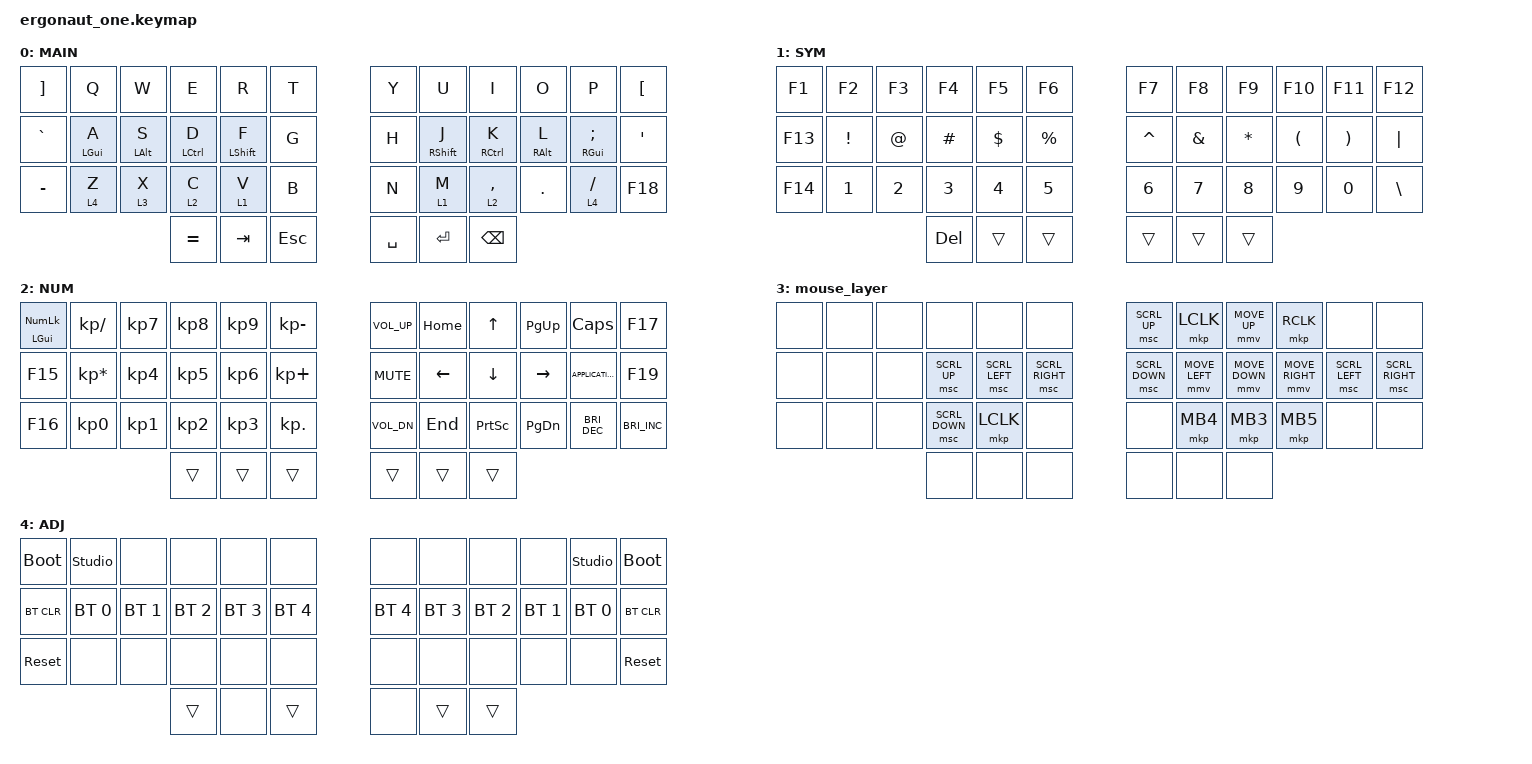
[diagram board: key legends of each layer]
#include <behaviors.dtsi>
#include <dt-bindings/zmk/bt.h>
#include <dt-bindings/zmk/keys.h>
#include <dt-bindings/zmk/pointing.h>

#define DEF 0
#define LWR 1
#define RSE 2
#define ADJ 3

&lt { quick-tap-ms = <200>; };

&mt { quick-tap-ms = <200>; };

/ {
    conditional_layers { compatible = "zmk,conditional-layers"; };

    behaviors {
        hrml: hrml {
            compatible = "zmk,behavior-hold-tap";
            label = "HOME_ROW_MOD_LEFT";
            bindings = <&kp>, <&kp>;

            #binding-cells = <2>;
            tapping-term-ms = <260>;
            quick-tap-ms = <125>;
            flavor = "balanced";
            hold-trigger-on-release;
            hold-trigger-key-positions = <6 18 30 31 19 7 8 20 32 33 21 9 10 22 34 35 23 11 39 40 41>;
            require-prior-idle-ms = <110>;
        };

        hrmr: hrmr {
            compatible = "zmk,behavior-hold-tap";
            label = "HOME_ROW_MOD_RIGHT";
            bindings = <&kp>, <&kp>;

            #binding-cells = <2>;
            tapping-term-ms = <260>;
            quick-tap-ms = <125>;
            flavor = "balanced";
            hold-trigger-on-release;
            hold-trigger-key-positions = <0 1 2 3 4 5 12 13 14 15 16 17 24 25 26 27 28 29 36 37 38>;
            require-prior-idle-ms = <110>;
        };

        lml: lml {
            compatible = "zmk,behavior-hold-tap";
            label = "LAYER_MOD_LEFT";
            bindings = <&mo>, <&kp>;

            #binding-cells = <2>;
            tapping-term-ms = <260>;
            quick-tap-ms = <125>;
            flavor = "balanced";
            hold-trigger-on-release;
            hold-trigger-key-positions = <6 7 8 9 10 11 18 19 20 21 22 23 30 31 32 33 34 35 41 40 39>;
            require-prior-idle-ms = <110>;
        };

        lmr: lmr {
            compatible = "zmk,behavior-hold-tap";
            label = "LAYER_MOD_RIGHT";
            bindings = <&mo>, <&kp>;

            #binding-cells = <2>;
            tapping-term-ms = <260>;
            quick-tap-ms = <125>;
            flavor = "balanced";
            hold-trigger-on-release;
            hold-trigger-key-positions = <0 1 2 3 4 5 12 13 14 15 16 17 24 25 26 27 28 29 36 37 38>;
            require-prior-idle-ms = <110>;
        };
    };

    keymap {
        compatible = "zmk,keymap";

        default_layer {
            display-name = "MAIN";
            bindings = <
&kp RIGHT_BRACKET  &kp Q         &kp W         &kp E          &kp R           &kp T    &kp Y      &kp U           &kp I          &kp O         &kp P            &kp LBKT
&kp GRAVE          &hrml LGUI A  &hrml LALT S  &hrml LCTRL D  &hrml LSHIFT F  &kp G    &kp H      &hrmr RSHIFT J  &hrmr RCTRL K  &hrmr RALT L  &hrmr RGUI SEMI  &kp SQT
&kp MINUS          &lml 4 Z      &lml 3 X      &lml 2 C       &lml 1 V        &kp B    &kp N      &lmr 1 M        &lmr 2 COMMA   &kp DOT       &lmr 4 SLASH     &kp F18
                                               &kp EQUAL      &kp TAB         &kp ESC  &kp SPACE  &kp ENTER       &kp BACKSPACE
            >;
        };

        lower_layer {
            display-name = "SYM";
            bindings = <
&kp F1   &kp F2    &kp F3  &kp F4      &kp F5    &kp F6     &kp F7     &kp F8    &kp F9    &kp F10   &kp F11   &kp F12
&kp F13  &kp EXCL  &kp AT  &kp HASH    &kp DLLR  &kp PRCNT  &kp CARET  &kp AMPS  &kp STAR  &kp LPAR  &kp RPAR  &kp PIPE
&kp F14  &kp N1    &kp N2  &kp N3      &kp N4    &kp N5     &kp N6     &kp N7    &kp N8    &kp N9    &kp N0    &kp BACKSLASH
                           &kp DELETE  &trans    &trans     &trans     &trans    &trans
            >;
        };

        raise_layer {
            display-name = "NUM";
            bindings = <
&mt LGUI KP_NUM  &kp KP_SLASH     &kp KP_N7  &kp KP_N8  &kp KP_N9  &kp KP_MINUS  &kp C_VOL_UP  &kp HOME  &kp UP_ARROW  &kp PG_UP      &kp CAPS              &kp F17
&kp F15          &kp KP_MULTIPLY  &kp KP_N4  &kp KP_N5  &kp KP_N6  &kp KP_PLUS   &kp C_MUTE    &kp LEFT  &kp DOWN      &kp RIGHT      &kp K_APPLICATION     &kp F19
&kp F16          &kp KP_N0        &kp KP_N1  &kp KP_N2  &kp KP_N3  &kp KP_DOT    &kp C_VOL_DN  &kp END   &kp PSCRN     &kp PAGE_DOWN  &kp C_BRIGHTNESS_DEC  &kp C_BRIGHTNESS_INC
                                             &trans     &trans     &trans        &trans        &trans    &trans
            >;
        };

        mouse_layer {
            bindings = <
&none  &none  &none  &none           &none           &none            &msc SCRL_UP    &mkp LCLK       &mmv MOVE_UP    &mkp RCLK        &none           &none
&none  &none  &none  &msc SCRL_UP    &msc SCRL_LEFT  &msc SCRL_RIGHT  &msc SCRL_DOWN  &mmv MOVE_LEFT  &mmv MOVE_DOWN  &mmv MOVE_RIGHT  &msc SCRL_LEFT  &msc SCRL_RIGHT
&none  &none  &none  &msc SCRL_DOWN  &mkp LCLK       &none            &none           &mkp MB4        &mkp MB3        &mkp MB5         &none           &none
                     &none           &none           &none            &none           &none           &none
            >;
        };

        adjust_layer {
            display-name = "ADJ";
            bindings = <
&bootloader  &studio_unlock  &none         &none         &none         &none         &none         &none         &none         &none         &studio_unlock  &bootloader
&bt BT_CLR   &bt BT_SEL 0    &bt BT_SEL 1  &bt BT_SEL 2  &bt BT_SEL 3  &bt BT_SEL 4  &bt BT_SEL 4  &bt BT_SEL 3  &bt BT_SEL 2  &bt BT_SEL 1  &bt BT_SEL 0    &bt BT_CLR
&sys_reset   &none           &none         &none         &none         &none         &none         &none         &none         &none         &none           &sys_reset
                                           &trans        &none         &trans        &none         &trans        &trans
            >;
        };
    };
};
